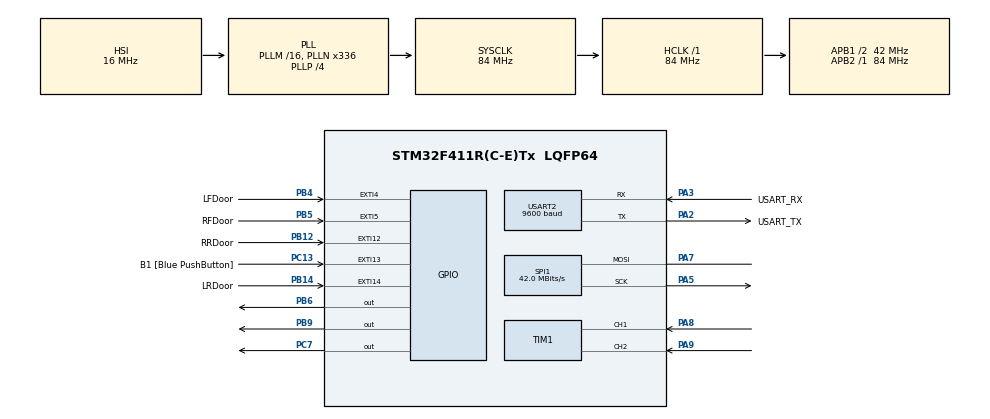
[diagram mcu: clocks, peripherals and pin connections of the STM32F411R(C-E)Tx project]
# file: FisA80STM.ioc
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Mcu.Family=STM32F4
Mcu.Name=STM32F411R(C-E)Tx
Mcu.Package=LQFP64
NVIC.PriorityGroup=NVIC_PRIORITYGROUP_0
PA13.GPIO_Label=TMS
PA13.Signal=SYS_JTMS-SWDIO
PA14.GPIO_Label=TCK
PA14.Signal=SYS_JTCK-SWCLK
PA2.GPIO_Label=USART_TX
PA2.Mode=Asynchronous
PA2.Signal=USART2_TX
PA3.GPIO_Label=USART_RX
PA3.Mode=Asynchronous
PA3.Signal=USART2_RX
PA5.Mode=Simplex_Bidirectional_Master
PA5.Signal=SPI1_SCK
PA7.Mode=Simplex_Bidirectional_Master
PA7.Signal=SPI1_MOSI
PA8.Signal=S_TIM1_CH1
PA9.Signal=S_TIM1_CH2
PB12.GPIO_Label=RRDoor
PB12.Signal=GPXTI12
PB14.GPIO_Label=LRDoor
PB14.Signal=GPXTI14
PB3.GPIO_Label=SWO
PB3.Signal=SYS_JTDO-SWO
PB4.GPIO_Label=LFDoor
PB4.GPIO_ModeDefaultEXTI=GPIO_MODE_IT_RISING
PB4.Signal=GPXTI4
PB5.GPIO_Label=RFDoor
PB5.Signal=GPXTI5
PB6.Signal=GPIO_Output
PB9.Signal=GPIO_Output
PC13-ANTI_TAMP.GPIO_Label=B1 [Blue PushButton]
PC13-ANTI_TAMP.GPIO_ModeDefaultEXTI=GPIO_MODE_IT_FALLING
PC13-ANTI_TAMP.Signal=GPXTI13
PC14-OSC32_IN.Signal=RCC_OSC32_IN
PC15-OSC32_OUT.Signal=RCC_OSC32_OUT
PC7.Signal=GPIO_Output
PH0\ -\ OSC_IN.Signal=RCC_OSC_IN
PH1\ -\ OSC_OUT.Signal=RCC_OSC_OUT
ProjectManager.HeapSize=0x200
ProjectManager.StackSize=0x400
ProjectManager.TargetToolchain=STM32CubeIDE
RCC.48MHZClocksFreq_Value=84000000
RCC.AHBFreq_Value=84000000
RCC.APB1CLKDivider=RCC_HCLK_DIV2
RCC.APB1Freq_Value=42000000
RCC.APB1TimFreq_Value=84000000
RCC.APB2Freq_Value=84000000
RCC.APB2TimFreq_Value=84000000
RCC.CortexFreq_Value=84000000
RCC.FLatency-AdvancedSettings=FLASH_LATENCY_2
RCC.HCLKFreq_Value=84000000
RCC.HSE_VALUE=8000000
RCC.HSI_VALUE=16000000
RCC.LSE_VALUE=32768
RCC.PLLN=336
RCC.PLLP=RCC_PLLP_DIV4
RCC.SYSCLKFreq_VALUE=84000000
RCC.SYSCLKSource=RCC_SYSCLKSOURCE_PLLCLK
RCC.VCOOutputFreq_Value=336000000
SH.S_TIM1_CH1.0=TIM1_CH1,Encoder_Interface
SH.S_TIM1_CH2.0=TIM1_CH2,Encoder_Interface
SPI1.BaudRatePrescaler=SPI_BAUDRATEPRESCALER_2
SPI1.CalculateBaudRate=42.0 MBits/s
SPI1.Direction=SPI_DIRECTION_1LINE
SPI1.Mode=SPI_MODE_MASTER
SPI1.VirtualType=VM_MASTER
TIM1.EncoderMode=TIM_ENCODERMODE_TI12
TIM1.IC1Filter=15
TIM1.IC2Filter=15
USART2.BaudRate=9600
USART2.VirtualMode=VM_ASYNC
board=NUCLEO-F411RE

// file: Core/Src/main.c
/* USER CODE BEGIN Header */
/**
  ******************************************************************************
  * @file           : main.c
  * @brief          : Main program body
  ******************************************************************************
  * @attention
  *
  * Copyright (c) 2022 STMicroelectronics.
  * All rights reserved.
  *
  * This software is licensed under terms that can be found in the LICENSE file
  * in the root directory of this software component.
  * If no LICENSE file comes with this software, it is provided AS-IS.
  *
  ******************************************************************************
  */
/* USER CODE END Header */
#include "main.h"

/* USER CODE BEGIN Includes */
/* vim: set ai et ts=4 sw=4: */
#include <string.h>
#include "st7735.h"
#include "fonts.h"
#include "testimg.h"
#include "blackimg.h"

/* USER CODE END Includes */

SPI_HandleTypeDef hspi1;

TIM_HandleTypeDef htim1;

UART_HandleTypeDef huart2;

/* USER CODE BEGIN PV */
/* Private variables ---------------------------------------------------------*/

/* USER CODE END PV */

void SystemClock_Config(void);
static void MX_GPIO_Init(void);
static void MX_SPI1_Init(void);
static void MX_USART2_UART_Init(void);
static void MX_TIM1_Init(void);
/* USER CODE BEGIN PFP */
/* Private function prototypes -----------------------------------------------*/

/* USER CODE END PFP */

/* USER CODE BEGIN 0 */

int x=1;
int y=1;
int z=1;
int p=4;
static uint16_t LastTimerCounter = 0;
static uint16_t MenuLastTimerCounter = 0;

int door=0;
int door2=0;
void init() {
    ST7735_Init();

    const char ready[] = "Ready!\r\n";
    HAL_UART_Transmit(&huart2, (uint8_t*)ready, sizeof(ready)-1, HAL_MAX_DELAY);
}
void caricon(uint16_t x, uint16_t y, uint16_t color)
{
	int tab[96][43]={	{0,0,0,0,0,0,0,0,0,1,1,1,1,1,1,1,1,1,1,1,1,1,1,1,1,1,1,1,1,1,1,1,1,1,1,0,0,0,0,0,0,0,0},
						{0,0,0,0,0,0,0,1,1,0,0,0,0,0,0,0,0,0,0,0,0,0,0,0,0,0,0,0,0,0,0,0,0,0,0,1,1,0,0,0,0,0,0},
						{0,0,0,0,0,1,1,0,0,0,0,0,0,0,0,0,0,0,0,0,0,0,0,0,0,0,0,0,0,0,0,0,0,0,0,0,0,1,1,0,0,0,0},
						{0,0,0,0,1,0,0,0,0,0,0,0,0,0,0,0,0,0,0,0,0,0,0,0,0,0,0,0,0,0,0,0,0,0,0,0,0,0,0,1,0,0,0},
						{0,0,0,1,0,0,0,0,0,0,0,0,0,0,0,0,0,0,0,0,0,0,0,0,0,0,0,0,0,0,0,0,0,0,0,0,0,0,0,0,1,0,0},
						{0,0,1,0,0,0,0,0,0,0,0,0,0,0,0,0,0,0,0,0,0,0,0,0,0,0,0,0,0,0,0,0,0,0,0,0,0,0,0,0,0,1,0},
						{0,0,1,0,0,0,0,0,0,0,0,0,0,0,0,0,0,0,0,0,0,0,0,0,0,0,0,0,0,0,0,0,0,0,0,0,0,0,0,0,0,1,0},
						{0,1,0,0,0,0,0,0,0,0,0,0,0,0,0,0,0,0,0,0,0,0,0,0,0,0,0,0,0,0,0,0,0,0,0,0,0,0,0,0,0,0,1},
						{0,1,0,0,0,0,0,0,0,0,0,0,0,0,0,0,0,0,0,0,0,0,0,0,0,0,0,0,0,0,0,0,0,0,0,0,0,0,0,0,0,0,1},
						{1,0,0,0,0,0,0,0,0,0,0,0,0,0,0,0,0,0,0,0,0,0,0,0,0,0,0,0,0,0,0,0,0,0,0,0,0,0,0,0,0,0,1},
						{1,0,0,0,0,0,0,0,0,0,0,0,0,0,0,0,0,0,0,0,0,0,0,0,0,0,0,0,0,0,0,0,0,0,0,0,0,0,0,0,0,0,1},
						{1,0,0,0,0,0,0,0,0,0,0,0,0,0,0,0,0,0,0,0,0,0,0,0,0,0,0,0,0,0,0,0,0,0,0,0,0,0,0,0,0,0,1},
						{1,0,0,0,0,0,0,0,0,0,0,0,0,0,0,0,0,0,0,0,0,0,0,0,0,0,0,0,0,0,0,0,0,0,0,0,0,0,0,0,0,0,1},
						{1,0,0,0,0,0,0,0,0,0,0,0,0,0,0,0,0,0,0,0,0,0,0,0,0,0,0,0,0,0,0,0,0,0,0,0,0,0,0,0,0,0,1},
						{1,0,0,0,0,0,0,0,0,0,0,0,0,0,0,0,0,0,0,0,0,0,0,0,0,0,0,0,0,0,0,0,0,0,0,0,0,0,0,0,0,0,1},
						{1,0,0,0,0,0,0,0,0,0,0,0,0,0,0,0,0,0,0,0,0,0,0,0,0,0,0,0,0,0,0,0,0,0,0,0,0,0,0,0,0,0,1},
						{1,0,0,0,0,0,0,0,0,0,0,0,0,0,0,0,0,0,0,0,0,0,0,0,0,0,0,0,0,0,0,0,0,0,0,0,0,0,0,0,0,0,1},
						{1,0,0,0,0,0,0,0,0,0,0,0,0,0,0,0,0,0,0,0,0,0,0,0,0,0,0,0,0,0,0,0,0,0,0,0,0,0,0,0,0,0,1},
						{1,0,0,0,0,0,0,0,0,0,0,0,0,0,0,0,0,0,0,0,0,0,0,0,0,0,0,0,0,0,0,0,0,0,0,0,0,0,0,0,0,0,1},
						{1,0,0,0,0,0,0,0,0,0,0,0,0,0,0,0,0,0,0,0,0,0,0,0,0,0,0,0,0,0,0,0,0,0,0,0,0,0,0,0,0,0,1},
						{1,0,0,0,0,0,0,0,0,0,0,0,0,0,0,0,0,0,0,0,0,0,0,0,0,0,0,0,0,0,0,0,0,0,0,0,0,0,0,0,0,0,1},
						{1,0,0,0,0,0,0,0,0,0,0,0,0,0,0,0,0,0,0,0,0,0,0,0,0,0,0,0,0,0,0,0,0,0,0,0,0,0,0,0,0,0,1},
						{1,0,0,0,0,0,0,0,0,0,0,0,0,0,0,0,0,0,0,0,0,0,0,0,0,0,0,0,0,0,0,0,0,0,0,0,0,0,0,0,0,0,1},
						{1,0,0,0,0,0,0,0,0,0,0,0,0,0,0,0,0,0,0,0,0,0,0,0,0,0,0,0,0,0,0,0,0,0,0,0,0,0,0,0,0,0,1},
						{1,0,0,0,0,0,0,0,0,0,0,0,0,0,0,0,0,0,0,0,0,0,0,0,0,0,0,0,0,0,0,0,0,0,0,0,0,0,0,0,0,0,1},
						{1,0,0,0,0,0,0,0,0,0,0,0,0,0,0,0,0,0,0,0,0,0,0,0,0,0,0,0,0,0,0,0,0,0,0,0,0,0,0,0,0,0,1},
						{1,0,0,0,0,0,0,1,1,1,1,1,1,1,1,1,1,1,1,1,1,1,1,1,1,1,1,1,1,1,1,1,1,1,1,1,0,0,0,0,0,0,1},
						{1,0,0,0,0,1,1,0,0,0,0,0,0,0,0,0,0,0,0,0,0,0,0,0,0,0,0,0,0,0,0,0,0,0,0,0,1,1,0,0,0,0,1},
						{1,0,0,1,1,0,0,0,0,0,0,0,0,0,0,0,0,0,0,0,0,0,0,0,0,0,0,0,0,0,0,0,0,0,0,0,0,0,1,1,0,0,1},
						{1,0,1,0,0,0,0,0,0,0,0,0,0,0,0,0,0,0,0,0,0,0,0,0,0,0,0,0,0,0,0,0,0,0,0,0,0,0,0,0,1,0,1},
						{1,1,0,0,0,0,0,0,0,0,0,0,0,0,0,0,0,0,0,0,0,0,0,0,0,0,0,0,0,0,0,0,0,0,0,0,0,0,0,0,0,1,1},
						{1,1,0,0,0,0,0,0,0,0,0,0,0,0,0,0,0,0,0,0,0,0,0,0,0,0,0,0,0,0,0,0,0,0,0,0,0,0,0,0,0,1,1},
						{1,0,1,0,0,0,0,0,0,0,0,0,0,0,0,0,0,0,0,0,0,0,0,0,0,0,0,0,0,0,0,0,0,0,0,0,0,0,0,0,1,0,1},
						{1,0,0,1,0,0,0,0,0,0,0,0,0,0,0,0,0,0,0,0,0,0,0,0,0,0,0,0,0,0,0,0,0,0,0,0,0,0,0,1,0,0,1},
						{1,0,0,0,1,0,0,0,0,0,0,0,0,0,0,0,0,0,0,0,0,0,0,0,0,0,0,0,0,0,0,0,0,0,0,0,0,0,1,0,0,0,1},
						{1,0,0,0,0,1,0,0,0,0,0,0,1,1,1,1,1,1,1,1,1,1,1,1,1,1,1,1,1,1,1,0,0,0,0,0,0,1,0,0,0,0,1},
						{1,0,0,0,0,0,1,0,0,0,1,1,0,0,0,0,0,0,0,0,0,0,0,0,0,0,0,0,0,0,0,1,1,0,0,0,1,0,0,0,0,0,1},
						{1,0,0,0,0,0,0,1,0,1,0,0,0,0,0,0,0,0,0,0,0,0,0,0,0,0,0,0,0,0,0,0,0,1,0,1,0,0,0,0,0,0,1},
						{1,0,0,0,0,0,0,0,1,0,0,0,0,0,0,0,0,0,0,0,0,0,0,0,0,0,0,0,0,0,0,0,0,0,1,0,0,0,0,0,0,0,1},
						{1,0,0,0,0,0,0,0,1,0,0,0,0,0,0,0,0,0,0,0,0,0,0,0,0,0,0,0,0,0,0,0,0,0,1,0,0,0,0,0,0,0,1},
						{1,0,0,0,0,0,0,0,1,0,0,0,0,0,0,0,0,0,0,0,0,0,0,0,0,0,0,0,0,0,0,0,0,0,1,0,0,0,0,0,0,0,1},
						{1,0,0,0,0,0,0,0,1,0,0,0,0,0,0,0,0,0,0,0,0,0,0,0,0,0,0,0,0,0,0,0,0,0,1,0,0,0,0,0,0,0,1},
						{1,0,0,0,0,0,0,0,1,0,0,0,0,0,0,0,0,0,0,0,0,0,0,0,0,0,0,0,0,0,0,0,0,0,1,0,0,0,0,0,0,0,1},
						{1,0,0,0,0,0,0,0,1,0,0,0,0,0,0,0,0,0,0,0,0,0,0,0,0,0,0,0,0,0,0,0,0,0,1,0,0,0,0,0,0,0,1},
						{1,0,0,0,0,0,0,0,1,0,0,0,0,0,0,0,0,0,0,0,0,0,0,0,0,0,0,0,0,0,0,0,0,0,1,0,0,0,0,0,0,0,1},
						{1,0,0,0,0,0,0,0,1,0,0,0,0,0,0,0,0,0,0,0,0,0,0,0,0,0,0,0,0,0,0,0,0,0,1,0,0,0,0,0,0,0,1},
						{1,0,0,0,0,0,0,0,1,0,0,0,0,0,0,0,0,0,0,0,0,0,0,0,0,0,0,0,0,0,0,0,0,0,1,0,0,0,0,0,0,0,1},
						{1,0,0,0,0,0,0,0,1,0,0,0,0,0,0,0,0,0,0,0,0,0,0,0,0,0,0,0,0,0,0,0,0,0,1,0,0,0,0,0,0,0,1},
						{1,0,0,0,0,0,0,0,1,0,0,0,0,0,0,0,0,0,0,0,0,0,0,0,0,0,0,0,0,0,0,0,0,0,1,0,0,0,0,0,0,0,1},
						{1,0,0,0,0,0,0,0,1,0,0,0,0,0,0,0,0,0,0,0,0,0,0,0,0,0,0,0,0,0,0,0,0,0,1,0,0,0,0,0,0,0,1},
						{1,0,0,0,0,0,0,0,1,0,0,0,0,0,0,0,0,0,0,0,0,0,0,0,0,0,0,0,0,0,0,0,0,0,1,0,0,0,0,0,0,0,1},
						{1,0,0,0,0,0,0,0,1,0,0,0,0,0,0,0,0,0,0,0,0,0,0,0,0,0,0,0,0,0,0,0,0,0,1,0,0,0,0,0,0,0,1},
						{1,0,0,0,0,0,0,0,1,0,0,0,0,0,0,0,0,0,0,0,0,0,0,0,0,0,0,0,0,0,0,0,0,0,1,0,0,0,0,0,0,0,1},
						{1,0,0,0,0,0,0,0,1,0,0,0,0,0,0,0,0,0,0,0,0,0,0,0,0,0,0,0,0,0,0,0,0,0,1,0,0,0,0,0,0,0,1},
						{1,1,1,1,1,1,1,1,1,0,0,0,0,0,0,0,0,0,0,0,0,0,0,0,0,0,0,0,0,0,0,0,0,0,1,1,1,1,1,1,1,1,1},
						{1,0,0,0,0,0,0,0,1,0,0,0,0,0,0,0,0,0,0,0,0,0,0,0,0,0,0,0,0,0,0,0,0,0,1,0,0,0,0,0,0,0,1},
						{1,0,0,0,0,0,0,0,1,0,0,0,0,0,0,0,0,0,0,0,0,0,0,0,0,0,0,0,0,0,0,0,0,0,1,0,0,0,0,0,0,0,1},
						{1,0,0,0,0,0,0,0,1,0,0,0,0,0,0,0,0,0,0,0,0,0,0,0,0,0,0,0,0,0,0,0,0,0,1,0,0,0,0,0,0,0,1},
						{1,0,0,0,0,0,0,0,1,0,0,0,0,0,0,0,0,0,0,0,0,0,0,0,0,0,0,0,0,0,0,0,0,0,1,0,0,0,0,0,0,0,1},
						{1,0,0,0,0,0,0,0,1,0,0,0,0,0,0,0,0,0,0,0,0,0,0,0,0,0,0,0,0,0,0,0,0,0,1,0,0,0,0,0,0,0,1},
						{1,0,0,0,0,0,0,0,1,0,0,0,0,0,0,0,0,0,0,0,0,0,0,0,0,0,0,0,0,0,0,0,0,0,1,0,0,0,0,0,0,0,1},
						{1,0,0,0,0,0,0,0,1,0,0,0,0,0,0,0,0,0,0,0,0,0,0,0,0,0,0,0,0,0,0,0,0,0,1,0,0,0,0,0,0,0,1},
						{1,0,0,0,0,0,0,0,1,0,0,0,0,0,0,0,0,0,0,0,0,0,0,0,0,0,0,0,0,0,0,0,0,0,1,0,0,0,0,0,0,0,1},
						{1,0,0,0,0,0,0,0,1,0,0,0,0,0,0,0,0,0,0,0,0,0,0,0,0,0,0,0,0,0,0,0,0,0,1,0,0,0,0,0,0,0,1},
						{1,0,0,0,0,0,0,0,1,0,0,0,0,0,0,0,0,0,0,0,0,0,0,0,0,0,0,0,0,0,0,0,0,0,1,0,0,0,0,0,0,0,1},
						{1,0,0,0,0,0,0,0,1,0,0,0,0,0,0,0,0,0,0,0,0,0,0,0,0,0,0,0,0,0,0,0,0,0,1,0,0,0,0,0,0,0,1},
						{1,0,0,0,0,0,0,0,1,0,0,0,0,0,0,0,0,0,0,0,0,0,0,0,0,0,0,0,0,0,0,0,0,0,1,0,0,0,0,0,0,0,1},
						{1,0,0,0,0,0,0,0,1,0,0,0,0,0,0,0,0,0,0,0,0,0,0,0,0,0,0,0,0,0,0,0,0,0,1,0,0,0,0,0,0,0,1},
						{1,0,0,0,0,0,0,0,1,0,0,0,0,0,0,0,0,0,0,0,0,0,0,0,0,0,0,0,0,0,0,0,0,0,1,0,0,0,0,0,0,0,1},
						{1,0,0,0,0,0,0,0,1,0,0,0,0,0,0,0,0,0,0,0,0,0,0,0,0,0,0,0,0,0,0,0,0,0,1,0,0,0,0,0,0,0,1},
						{1,0,0,0,0,0,0,0,1,0,0,0,0,0,0,0,0,0,0,0,0,0,0,0,0,0,0,0,0,0,0,0,0,0,1,0,0,0,0,0,0,0,1},
						{1,0,0,0,0,0,0,1,0,1,0,0,0,0,0,0,0,0,0,0,0,0,0,0,0,0,0,0,0,0,0,0,0,1,0,1,0,0,0,0,0,0,1},
						{1,0,0,0,0,0,1,0,0,0,1,1,0,0,0,0,0,0,0,0,0,0,0,0,0,0,0,0,0,0,0,1,1,0,0,0,1,0,0,0,0,0,1},
						{1,0,0,0,0,1,0,0,0,0,0,0,1,1,1,1,1,1,1,1,1,1,1,1,1,1,1,1,1,1,1,0,0,0,0,0,0,1,0,0,0,0,1},
						{1,0,0,0,1,0,0,0,0,0,0,0,0,0,0,0,0,0,0,0,0,0,0,0,0,0,0,0,0,0,0,0,0,0,0,0,0,0,1,0,0,0,1},
						{1,0,0,1,0,0,0,0,0,0,0,0,0,0,0,0,0,0,0,0,0,0,0,0,0,0,0,0,0,0,0,0,0,0,0,0,0,0,0,1,0,0,1},
						{1,0,1,0,0,0,0,0,0,0,0,0,0,0,0,0,0,0,0,0,0,0,0,0,0,0,0,0,0,0,0,0,0,0,0,0,0,0,0,0,1,0,1},
						{1,1,0,0,0,0,0,0,0,0,0,0,0,0,0,0,0,0,0,0,0,0,0,0,0,0,0,0,0,0,0,0,0,0,0,0,0,0,0,0,0,1,1},
						{1,0,1,0,0,0,0,0,0,0,0,0,0,0,0,0,0,0,0,0,0,0,0,0,0,0,0,0,0,0,0,0,0,0,0,0,0,0,0,0,1,0,1},
						{1,0,0,1,1,0,0,0,0,0,0,0,0,0,0,0,0,0,0,0,0,0,0,0,0,0,0,0,0,0,0,0,0,0,0,0,0,0,1,1,0,0,1},
						{1,0,0,0,0,1,1,1,1,1,1,1,1,1,1,1,1,1,1,1,1,1,1,1,1,1,1,1,1,1,1,1,1,1,1,1,1,1,0,0,0,0,1},
						{1,0,0,0,0,0,0,0,0,0,0,0,0,0,0,0,0,0,0,0,0,0,0,0,0,0,0,0,0,0,0,0,0,0,0,0,0,0,0,0,0,0,1},
						{1,0,0,0,0,0,0,0,0,0,0,0,0,0,0,0,0,0,0,0,0,0,0,0,0,0,0,0,0,0,0,0,0,0,0,0,0,0,0,0,0,0,1},
						{1,0,0,0,0,0,0,0,0,0,0,0,0,0,0,0,0,0,0,0,0,0,0,0,0,0,0,0,0,0,0,0,0,0,0,0,0,0,0,0,0,0,1},
						{1,0,0,0,0,0,0,0,0,0,0,0,0,0,0,0,0,0,0,0,0,0,0,0,0,0,0,0,0,0,0,0,0,0,0,0,0,0,0,0,0,0,1},
						{1,0,0,0,0,0,0,0,0,0,0,0,0,0,0,0,0,0,0,0,0,0,0,0,0,0,0,0,0,0,0,0,0,0,0,0,0,0,0,0,0,0,1},
						{1,0,0,0,0,0,0,0,0,0,0,0,0,0,0,0,0,0,0,0,0,0,0,0,0,0,0,0,0,0,0,0,0,0,0,0,0,0,0,0,0,0,1},
						{0,1,0,0,0,0,0,0,0,0,0,0,0,0,0,0,0,0,0,0,0,0,0,0,0,0,0,0,0,0,0,0,0,0,0,0,0,0,0,0,0,1,0},
						{0,1,0,0,0,0,0,0,0,0,0,0,0,0,0,0,0,0,0,0,0,0,0,0,0,0,0,0,0,0,0,0,0,0,0,0,0,0,0,0,0,1,0},
						{0,0,1,0,0,0,0,0,0,0,0,0,0,0,0,0,0,0,0,0,0,0,0,0,0,0,0,0,0,0,0,0,0,0,0,0,0,0,0,0,1,0,0},
						{0,0,1,0,0,0,0,0,0,0,0,0,0,0,0,0,0,0,0,0,0,0,0,0,0,0,0,0,0,0,0,0,0,0,0,0,0,0,0,0,1,0,0},
						{0,0,0,1,0,0,0,0,0,0,0,0,0,0,0,0,0,0,0,0,0,0,0,0,0,0,0,0,0,0,0,0,0,0,0,0,0,0,0,1,0,0,0},
						{0,0,0,0,1,0,0,0,0,0,0,0,0,0,0,0,0,0,0,0,0,0,0,0,0,0,0,0,0,0,0,0,0,0,0,0,0,0,1,0,0,0,0},
						{0,0,0,0,0,1,1,0,0,0,0,0,0,0,0,0,0,0,0,0,0,0,0,0,0,0,0,0,0,0,0,0,0,0,0,0,1,1,0,0,0,0,0},
						{0,0,0,0,0,0,0,1,1,0,0,0,0,0,0,0,0,0,0,0,0,0,0,0,0,0,0,0,0,0,0,0,0,0,1,1,0,0,0,0,0,0,0},
						{0,0,0,0,0,0,0,0,0,1,1,1,1,1,1,1,1,1,1,1,1,1,1,1,1,1,1,1,1,1,1,1,1,1,0,0,0,0,0,0,0,0,0}};

	int p=0;
		int i, j;
		for (i=0; i<96; i++)
		{
			for(j=0; j<43; j++)
			{
				p=tab[i][j];
				if (p==1)
				{
					ST7735_DrawPixel(x+j, y+i, color);
				}
			}
		}
}
void Rcardooricon(uint16_t x, uint16_t y, uint16_t color)
{
	int tab[14][13]={	{1,0,0,0,0,0,0,0,0,0,0,0,0},
						{1,1,0,0,0,0,0,0,0,0,0,0,0},
						{0,1,1,0,0,0,0,0,0,0,0,0,0},
						{0,0,1,1,0,0,0,0,0,0,0,0,0},
						{0,0,0,1,1,0,0,0,0,0,0,0,0},
						{0,0,0,0,1,1,0,0,0,0,0,0,0},
						{0,0,0,0,0,1,1,0,0,0,0,0,0},
						{0,0,0,0,0,0,1,1,0,0,0,0,0},
						{0,0,0,0,0,0,0,1,1,0,0,0,0},
						{0,0,0,0,0,0,0,0,1,1,0,0,0},
						{0,0,0,0,0,0,0,0,0,1,1,0,0},
						{0,0,0,0,0,0,0,0,0,0,1,1,0},
						{0,0,0,0,0,0,0,0,0,0,0,1,1},
						{0,0,0,0,0,0,0,0,0,0,0,0,1}};
	int p=0;
			int i, j;
			for (i=0; i<14; i++)
			{
				for(j=0; j<13; j++)
				{
					p=tab[i][j];
					if (p==1)
					{
						ST7735_DrawPixel(x+j, y+i, color);
					}
				}
			}
}
void Lcardooricon(uint16_t x, uint16_t y, uint16_t color)
{
	int tab[14][13]={		{0,0,0,0,0,0,0,0,0,0,0,0,1},
							{0,0,0,0,0,0,0,0,0,0,0,1,1},
							{0,0,0,0,0,0,0,0,0,0,1,1,0},
							{0,0,0,0,0,0,0,0,0,1,1,0,0},
							{0,0,0,0,0,0,0,0,1,1,0,0,0},
							{0,0,0,0,0,0,0,1,1,0,0,0,0},
							{0,0,0,0,0,0,1,1,0,0,0,0,0},
							{0,0,0,0,0,1,1,0,0,0,0,0,0},
							{0,0,0,0,1,1,0,0,0,0,0,0,0},
							{0,0,0,1,1,0,0,0,0,0,0,0,0},
							{0,0,1,1,0,0,0,0,0,0,0,0,0},
							{0,1,1,0,0,0,0,0,0,0,0,0,0},
							{1,1,0,0,0,0,0,0,0,0,0,0,0},
							{1,0,0,0,0,0,0,0,0,0,0,0,0}};
	int p=0;
			int i, j;
			for (i=0; i<14; i++)
			{
				for(j=0; j<13; j++)
				{
					p=tab[i][j];
					if (p==1)
					{
						ST7735_DrawPixel(x+j, y+i, color);
					}
				}
			}
}
void fuelicon(uint16_t x, uint16_t y, uint16_t color)
{
	int tab[16][16]={ {0,0,1,1,1,1,1,1,0,0,0,1,1,0,0,0},
					  {0,1,1,1,1,1,1,1,1,0,0,1,1,1,0,0},
					  {1,1,1,0,0,0,0,1,1,1,0,0,1,1,1,0},
					  {1,1,0,0,0,0,0,0,1,1,0,0,1,1,1,1},
					  {1,1,0,0,0,0,0,0,1,1,0,0,1,0,1,1},
					  {1,1,0,0,0,0,0,0,1,1,0,0,1,1,1,1},
					  {1,1,1,1,1,1,1,1,1,1,0,0,0,0,1,1},
					  {1,1,1,1,1,1,1,1,1,1,1,1,1,0,1,1},
					  {1,1,1,1,1,1,1,1,1,1,1,1,1,0,1,1},
					  {1,1,1,1,1,1,1,1,1,1,0,1,1,0,1,1},
					  {1,1,1,1,1,1,1,1,1,1,0,1,1,0,1,1},
					  {1,1,1,1,1,1,1,1,1,1,0,1,1,0,1,1},
					  {1,1,1,1,1,1,1,1,1,1,0,1,1,0,1,1},
					  {1,1,1,1,1,1,1,1,1,1,0,1,1,0,1,1},
					  {1,1,1,1,1,1,1,1,1,1,0,1,1,1,1,1},
					  {1,1,1,1,1,1,1,1,1,1,0,0,1,1,1,0}};

	int p=0;
	int i, j;
	for (i=0; i<16; i++)
	{
		for(j=0; j<16; j++)
		{
			p=tab[i][j];
			if (p==1)
			{
				ST7735_DrawPixel(x+j, y+i, color);
			}
		}
	}
}
void frame(uint16_t x, uint16_t y, uint16_t w, uint16_t h, uint16_t color)
{
	int i;
	int j;
	for(i = 0; i <= w ; i++)
	{
	     ST7735_DrawPixel(x+i, y, color);
	     ST7735_DrawPixel(x+i, y+h, color);
	}
	for(j = 0; j < h; j++)
	{
	     ST7735_DrawPixel(x, y+j, color);
	     ST7735_DrawPixel(x+w, y+j, color);
	}
}
void box(uint16_t x, uint16_t y, uint16_t w, uint16_t h, uint16_t color)
{
	int i;
	int j;
	for(i = 0; i <= w ; i++)
	{
		for(j = 0; j < h; j++)
		{
		     ST7735_DrawPixel(x+i, y+j, color);
		}
	}
}
void img()
{
	if(y==1)
	{
		//ST7735_FillScreen(ST7735_BLACK);
		ST7735_DrawImage(0, 0, 128, 128, (uint16_t*)test_img_128x128);
		y=0;
	}
	if (HAL_GPIO_ReadPin(B1_GPIO_Port, B1_Pin) == GPIO_PIN_RESET)
	    {
	    	//if (x==3)
	    	//{
	    		x=2;
	    	//}
	    	y=1;
	    	HAL_Delay(50);
	    }
}

void MainScreen()
{
	int i;
	int d;
	int f;
	int c;

	char a[7];
	if(y==1)
	{
		ST7735_FillScreen(ST7735_BLACK);
		ST7735_FillRectangle(0, 20, 128, 2, ST7735_RED);
		ST7735_WriteString(2, 2, "10:30", Font_11x18, ST7735_RED, ST7735_BLACK);
		ST7735_WriteString(80, 2, "15*C", Font_11x18, ST7735_RED, ST7735_BLACK);
		ST7735_FillRectangle(0, 135, 128, 2, ST7735_RED);
		fuelicon(2, 140, ST7735_RED);
		frame(20, 140, 102, 15, ST7735_RED);
		for (i=0; i<4; i++)
			{
				d=i*20;
				ST7735_WriteString(2, 25+d, "test", Font_11x18, ST7735_RED, ST7735_BLACK);
			}
		//f=10*z;
		//frame(60, 50, f, f, ST7735_RED);
		LastTimerCounter=htim1.Instance->CNT;
		c=1;
		y=0;
	}

		int TimerDif = htim1.Instance->CNT - LastTimerCounter;
		if(TimerDif >= 4 || TimerDif <= -4)
		{
			TimerDif /= 4;
			p += (int8_t)TimerDif;
			if(p > 10) p = 10;
			if(p < 0) p = 0;
			LastTimerCounter = htim1.Instance->CNT;
			c=1;
		}

	if (p<10)
	{
		ST7735_FillRectangle(70, 26, 12, 14, ST7735_BLACK);
	}
	if (p<100)
		{
			ST7735_FillRectangle(82, 26, 12, 14, ST7735_BLACK);
		}
	itoa(p, a, 10);
	ST7735_WriteString(60, 25, a, Font_11x18, ST7735_RED, ST7735_BLACK);

	if (c==1) //Poziom paliwa
	{
		f=10*p;
		box(21+f, 141, 100-f, 14, ST7735_BLACK);
		box(21, 141, f, 14, ST7735_RED);

		c=0;
	}
	if (HAL_GPIO_ReadPin(B1_GPIO_Port, B1_Pin) == GPIO_PIN_RESET)
	    {
	    	if (x==1)
	    	{
	    		x=2;
	    	}
	    	y=1;
	    	HAL_Delay(20);
	    }
}
void Menu()
{

	int m;

	if(y==1)
		{
			ST7735_FillScreen(ST7735_BLACK);
			ST7735_FillRectangle(0, 20, 128, 2, ST7735_RED);
			ST7735_WriteString(2, 2, "Menu", Font_11x18, ST7735_RED, ST7735_BLACK);
			ST7735_WriteString(5, 25, "Diagnostyka", Font_11x18, ST7735_RED, ST7735_BLACK);
			ST7735_WriteString(5, 45, "Ustawienia", Font_11x18, ST7735_RED, ST7735_BLACK);
			ST7735_WriteString(5, 65, "Obrazek", Font_11x18, ST7735_RED, ST7735_BLACK);
			ST7735_WriteString(5, 85, "Ekran gl.", Font_11x18, ST7735_RED, ST7735_BLACK);
			MenuLastTimerCounter=htim1.Instance->CNT;
			m=1;
			z=1;
			y=0;

		}

			int TimerDif = htim1.Instance->CNT - MenuLastTimerCounter;
			if(TimerDif >= 4 || TimerDif <= -4)
			{
				TimerDif /= 4;
				z += (int8_t)TimerDif;
				if(z > 4) z = 4;
				if(z < 1) z = 1;
				m=1;
				MenuLastTimerCounter = htim1.Instance->CNT;
			}
	switch (z)
	    {
	    	case 1:			//Diagnostyka
	    	{
	    		if (m==1)
	    		{
	    			ST7735_WriteString(5, 45, "Ustawienia", Font_11x18, ST7735_RED, ST7735_BLACK);
	    			ST7735_WriteString(5, 25, "Diagnostyka", Font_11x18, ST7735_BLACK, ST7735_RED);
	    			m=0;
	    		}

	    		break;
	    	}
	    	case 2:			//Ustawienia
	    	{
	    		if (m==1)
	    		{
	    			ST7735_WriteString(5, 25, "Diagnostyka", Font_11x18, ST7735_RED, ST7735_BLACK);
	    			ST7735_WriteString(5, 65, "Obrazek", Font_11x18, ST7735_RED, ST7735_BLACK);
	    			ST7735_WriteString(5, 45, "Ustawienia", Font_11x18, ST7735_BLACK, ST7735_RED);
	    			m=0;
	    			    		}
	    		break;
	    	}
	    	case 3:			//Obrazek
	    	{
	    		if (m==1)
	    		{
	    			ST7735_WriteString(5, 45, "Ustawienia", Font_11x18, ST7735_RED, ST7735_BLACK);
   					ST7735_WriteString(5, 85, "Ekran gl.", Font_11x18, ST7735_RED, ST7735_BLACK);
	    			ST7735_WriteString(5, 65, "Obrazek", Font_11x18, ST7735_BLACK, ST7735_RED);
	    			m=0;
	    		}
	    	    break;
	    	}
	    	case 4:			//Ekran główny
	    	{
	    		if (m==1)
	    		{
	    			ST7735_WriteString(5, 65, "Obrazek", Font_11x18, ST7735_RED, ST7735_BLACK);
	    			ST7735_WriteString(5, 85, "Ekran gl.", Font_11x18, ST7735_BLACK, ST7735_RED);
	    			m=0;
	    		}
	    	    break;
	    	}

	    }
	if (z==1 && HAL_GPIO_ReadPin(B1_GPIO_Port, B1_Pin) == GPIO_PIN_RESET)
	{
		x=4; //Diagnostyka
		y=1;
		HAL_Delay(20);
	}
	if (z==2 && HAL_GPIO_ReadPin(B1_GPIO_Port, B1_Pin) == GPIO_PIN_RESET)
	{
		x=5; //Ustawienia
		y=1;
		HAL_Delay(20);
	}
	if (z==3 && HAL_GPIO_ReadPin(B1_GPIO_Port, B1_Pin) == GPIO_PIN_RESET)
	{
		x=3; //Obrazek
		y=1;
		HAL_Delay(20);
	}
	if (z==4 && HAL_GPIO_ReadPin(B1_GPIO_Port, B1_Pin) == GPIO_PIN_RESET)
	{
		x=1; //Ekran główny
		y=1;
		HAL_Delay(20);
	}
}

void Diagnostyka()
{
	if(y==1)
		{
			ST7735_FillScreen(ST7735_BLACK);
			ST7735_FillRectangle(0, 20, 128, 2, ST7735_RED);
			ST7735_WriteString(2, 2, "Diagnostyka", Font_11x18, ST7735_RED, ST7735_BLACK);
			caricon(42, 35, ST7735_RED);
			Rcardooricon(85, 67, ST7735_RED);
			Lcardooricon(29, 67, ST7735_RED);
			fuelicon(2, 140, ST7735_RED);
			y=0;
			}
	if (HAL_GPIO_ReadPin(B1_GPIO_Port, B1_Pin) == GPIO_PIN_RESET)
			{
			   	x=2;
			   	y=1;
			   	HAL_Delay(20);
			}
}
void Ustawienia()
{
	if(y==1)
			{
				ST7735_FillScreen(ST7735_BLACK);
				ST7735_FillRectangle(0, 20, 128, 2, ST7735_RED);
				ST7735_WriteString(2, 2, "Diagnostyka", Font_11x18, ST7735_RED, ST7735_BLACK);
				y=0;
			}
	if (HAL_GPIO_ReadPin(B1_GPIO_Port, B1_Pin) == GPIO_PIN_RESET)
			{
			   	x=2;
			   	y=1;
			   	HAL_Delay(20);
			}
}
void Doors()
{
	if(y==1)
	{
		ST7735_DrawImage(0, 22, 128, 113, (uint16_t*)black_img_128x128);
		caricon(42, 31, ST7735_RED);
		y=0;
	}
		if (HAL_GPIO_ReadPin(LFDoor_GPIO_Port, LFDoor_Pin) == GPIO_PIN_RESET) //Drzwi lewy przód
		{
			Lcardooricon(29, 63, ST7735_RED);
			HAL_Delay(20);
		}
		else
		{
			Lcardooricon(29, 63, ST7735_BLACK);
		}
		if (HAL_GPIO_ReadPin(RFDoor_GPIO_Port, RFDoor_Pin) == GPIO_PIN_RESET) //Drzwi prawy przód
		{
			Rcardooricon(85, 63, ST7735_RED);
			HAL_Delay(20);
		}
		else
		{
			Rcardooricon(85, 63, ST7735_BLACK);
		}
		if (HAL_GPIO_ReadPin(LRDoor_GPIO_Port, LRDoor_Pin) == GPIO_PIN_RESET) //Drzwi lewy tył
		{
			Lcardooricon(29, 85, ST7735_RED);
			HAL_Delay(20);
		}
		else
		{
			Lcardooricon(29, 85, ST7735_BLACK);
		}
		if (HAL_GPIO_ReadPin(RRDoor_GPIO_Port, RRDoor_Pin) == GPIO_PIN_RESET) //Drzwi prawy tył
		{
			Rcardooricon(85, 85, ST7735_RED);
			HAL_Delay(20);
		}
		else
		{
			Rcardooricon(85, 85, ST7735_BLACK);
		}

}
void loop() {
    // Check border

	if (HAL_GPIO_ReadPin(LFDoor_GPIO_Port, LFDoor_Pin) == GPIO_PIN_RESET || HAL_GPIO_ReadPin(RFDoor_GPIO_Port, RFDoor_Pin) == GPIO_PIN_RESET || HAL_GPIO_ReadPin(LRDoor_GPIO_Port, LRDoor_Pin) == GPIO_PIN_RESET || HAL_GPIO_ReadPin(RRDoor_GPIO_Port, RRDoor_Pin) == GPIO_PIN_RESET)
	{
		if (door2==0)
		{
			door=x;
			y=1;
		}
	   	x=6;
	   	door2=1;
	   	HAL_Delay(20);
	}
	else
	{
		if (door2==1){
			x=door;
			door2=0;
			y=1;
			HAL_Delay(100);
		}
	}
    switch (x)
    {
    	case 1:
    	{
    		MainScreen();
    		break;
    	}
    	case 2:
    	{
    		Menu();
    		break;
    	}
    	case 3:
    	{
    	    img();
    	    break;
    	}
    	case 4:
    	{
    	    Ustawienia();
    	    break;
    	   	}
    	case 5:
    	{
    	    Diagnostyka();
    	    break;
    	}
    	case 6:
    	{
    		Doors();
    		break;
    	}
    }
}

/* USER CODE END 0 */

int main(void)
{

  /* MCU Configuration--------------------------------------------------------*/

  /* Reset of all peripherals, Initializes the Flash interface and the Systick. */
  HAL_Init();

  /* Configure the system clock */
  SystemClock_Config();

  /* Initialize all configured peripherals */
  MX_GPIO_Init();
  MX_SPI1_Init();
  MX_USART2_UART_Init();
  MX_TIM1_Init();
  /* USER CODE BEGIN 2 */
  HAL_TIM_Encoder_Start(&htim1, TIM_CHANNEL_ALL);
  /* USER CODE END 2 */

  /* Infinite loop */
  /* USER CODE BEGIN WHILE */
  init();
  while (1)
  {
    loop();
    /* USER CODE END WHILE */

  }
}

void SystemClock_Config(void)
{
  RCC_OscInitTypeDef RCC_OscInitStruct = {0};
  RCC_ClkInitTypeDef RCC_ClkInitStruct = {0};

  /** Configure the main internal regulator output voltage
  */
  __HAL_RCC_PWR_CLK_ENABLE();
  __HAL_PWR_VOLTAGESCALING_CONFIG(PWR_REGULATOR_VOLTAGE_SCALE1);
  /** Initializes the RCC Oscillators according to the specified parameters
  * in the RCC_OscInitTypeDef structure.
  */
  RCC_OscInitStruct.OscillatorType = RCC_OSCILLATORTYPE_HSI;
  RCC_OscInitStruct.HSIState = RCC_HSI_ON;
  RCC_OscInitStruct.HSICalibrationValue = RCC_HSICALIBRATION_DEFAULT;
  RCC_OscInitStruct.PLL.PLLState = RCC_PLL_ON;
  RCC_OscInitStruct.PLL.PLLSource = RCC_PLLSOURCE_HSI;
  RCC_OscInitStruct.PLL.PLLM = 16;
  RCC_OscInitStruct.PLL.PLLN = 336;
  RCC_OscInitStruct.PLL.PLLP = RCC_PLLP_DIV4;
  RCC_OscInitStruct.PLL.PLLQ = 4;
  if (HAL_RCC_OscConfig(&RCC_OscInitStruct) != HAL_OK)
  {
    Error_Handler();
  }
  /** Initializes the CPU, AHB and APB buses clocks
  */
  RCC_ClkInitStruct.ClockType = RCC_CLOCKTYPE_HCLK|RCC_CLOCKTYPE_SYSCLK
                              |RCC_CLOCKTYPE_PCLK1|RCC_CLOCKTYPE_PCLK2;
  RCC_ClkInitStruct.SYSCLKSource = RCC_SYSCLKSOURCE_PLLCLK;
  RCC_ClkInitStruct.AHBCLKDivider = RCC_SYSCLK_DIV1;
  RCC_ClkInitStruct.APB1CLKDivider = RCC_HCLK_DIV2;
  RCC_ClkInitStruct.APB2CLKDivider = RCC_HCLK_DIV1;

  if (HAL_RCC_ClockConfig(&RCC_ClkInitStruct, FLASH_LATENCY_2) != HAL_OK)
  {
    Error_Handler();
  }
}

static void MX_SPI1_Init(void)
{

  /* SPI1 parameter configuration*/
  hspi1.Instance = SPI1;
  hspi1.Init.Mode = SPI_MODE_MASTER;
  hspi1.Init.Direction = SPI_DIRECTION_1LINE;
  hspi1.Init.DataSize = SPI_DATASIZE_8BIT;
  hspi1.Init.CLKPolarity = SPI_POLARITY_LOW;
  hspi1.Init.CLKPhase = SPI_PHASE_1EDGE;
  hspi1.Init.NSS = SPI_NSS_SOFT;
  hspi1.Init.BaudRatePrescaler = SPI_BAUDRATEPRESCALER_2;
  hspi1.Init.FirstBit = SPI_FIRSTBIT_MSB;
  hspi1.Init.TIMode = SPI_TIMODE_DISABLE;
  hspi1.Init.CRCCalculation = SPI_CRCCALCULATION_DISABLE;
  hspi1.Init.CRCPolynomial = 10;
  if (HAL_SPI_Init(&hspi1) != HAL_OK)
  {
    Error_Handler();
  }

}

static void MX_TIM1_Init(void)
{

  TIM_Encoder_InitTypeDef sConfig = {0};
  TIM_MasterConfigTypeDef sMasterConfig = {0};

  htim1.Instance = TIM1;
  htim1.Init.Prescaler = 0;
  htim1.Init.CounterMode = TIM_COUNTERMODE_UP;
  htim1.Init.Period = 65535;
  htim1.Init.ClockDivision = TIM_CLOCKDIVISION_DIV1;
  htim1.Init.RepetitionCounter = 0;
  htim1.Init.AutoReloadPreload = TIM_AUTORELOAD_PRELOAD_DISABLE;
  sConfig.EncoderMode = TIM_ENCODERMODE_TI12;
  sConfig.IC1Polarity = TIM_ICPOLARITY_RISING;
  sConfig.IC1Selection = TIM_ICSELECTION_DIRECTTI;
  sConfig.IC1Prescaler = TIM_ICPSC_DIV1;
  sConfig.IC1Filter = 15;
  sConfig.IC2Polarity = TIM_ICPOLARITY_RISING;
  sConfig.IC2Selection = TIM_ICSELECTION_DIRECTTI;
  sConfig.IC2Prescaler = TIM_ICPSC_DIV1;
  sConfig.IC2Filter = 15;
  if (HAL_TIM_Encoder_Init(&htim1, &sConfig) != HAL_OK)
  {
    Error_Handler();
  }
  sMasterConfig.MasterOutputTrigger = TIM_TRGO_RESET;
  sMasterConfig.MasterSlaveMode = TIM_MASTERSLAVEMODE_DISABLE;
  if (HAL_TIMEx_MasterConfigSynchronization(&htim1, &sMasterConfig) != HAL_OK)
  {
    Error_Handler();
  }

}

static void MX_USART2_UART_Init(void)
{

  huart2.Instance = USART2;
  huart2.Init.BaudRate = 9600;
  huart2.Init.WordLength = UART_WORDLENGTH_8B;
  huart2.Init.StopBits = UART_STOPBITS_1;
  huart2.Init.Parity = UART_PARITY_NONE;
  huart2.Init.Mode = UART_MODE_TX_RX;
  huart2.Init.HwFlowCtl = UART_HWCONTROL_NONE;
  huart2.Init.OverSampling = UART_OVERSAMPLING_16;
  if (HAL_UART_Init(&huart2) != HAL_OK)
  {
    Error_Handler();
  }

}

static void MX_GPIO_Init(void)
{
  GPIO_InitTypeDef GPIO_InitStruct = {0};

  /* GPIO Ports Clock Enable */
  __HAL_RCC_GPIOC_CLK_ENABLE();
  __HAL_RCC_GPIOH_CLK_ENABLE();
  __HAL_RCC_GPIOA_CLK_ENABLE();
  __HAL_RCC_GPIOB_CLK_ENABLE();

  /*Configure GPIO pin Output Level */
  HAL_GPIO_WritePin(GPIOC, GPIO_PIN_7, GPIO_PIN_RESET);

  /*Configure GPIO pin Output Level */
  HAL_GPIO_WritePin(GPIOB, GPIO_PIN_6|GPIO_PIN_9, GPIO_PIN_RESET);

  /*Configure GPIO pin : B1_Pin */
  GPIO_InitStruct.Pin = B1_Pin;
  GPIO_InitStruct.Mode = GPIO_MODE_IT_FALLING;
  GPIO_InitStruct.Pull = GPIO_NOPULL;
  HAL_GPIO_Init(B1_GPIO_Port, &GPIO_InitStruct);

  /*Configure GPIO pins : RRDoor_Pin LRDoor_Pin LFDoor_Pin RFDoor_Pin */
  GPIO_InitStruct.Pin = RRDoor_Pin|LRDoor_Pin|LFDoor_Pin|RFDoor_Pin;
  GPIO_InitStruct.Mode = GPIO_MODE_IT_RISING;
  GPIO_InitStruct.Pull = GPIO_NOPULL;
  HAL_GPIO_Init(GPIOB, &GPIO_InitStruct);

  /*Configure GPIO pin : PC7 */
  GPIO_InitStruct.Pin = GPIO_PIN_7;
  GPIO_InitStruct.Mode = GPIO_MODE_OUTPUT_PP;
  GPIO_InitStruct.Pull = GPIO_NOPULL;
  GPIO_InitStruct.Speed = GPIO_SPEED_FREQ_LOW;
  HAL_GPIO_Init(GPIOC, &GPIO_InitStruct);

  /*Configure GPIO pins : PB6 PB9 */
  GPIO_InitStruct.Pin = GPIO_PIN_6|GPIO_PIN_9;
  GPIO_InitStruct.Mode = GPIO_MODE_OUTPUT_PP;
  GPIO_InitStruct.Pull = GPIO_NOPULL;
  GPIO_InitStruct.Speed = GPIO_SPEED_FREQ_LOW;
  HAL_GPIO_Init(GPIOB, &GPIO_InitStruct);

}

void Error_Handler(void)
{
  while(1)
  {
  }
}
